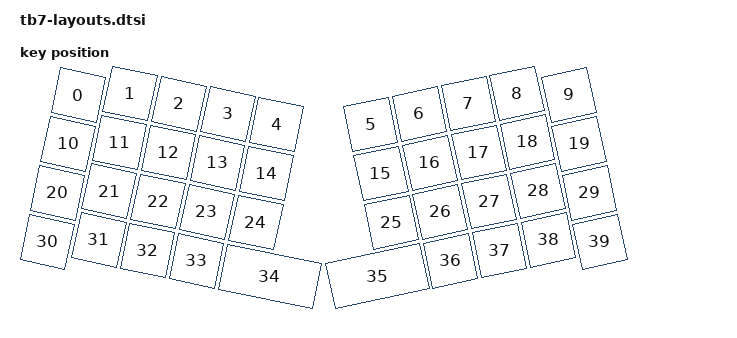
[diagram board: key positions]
// See https://zmk.dev/docs/development/hardware-integration/physical-layouts
// for how to configure this.

#include <physical_layouts.dtsi>

/ {
    default_layout: default_layout {
        compatible = "zmk,physical-layout";
        display-name = "Default Layout";
        transform = <&default_transform>;
        kscan = <&kscan>;

        // Edit this to define the positions and sizes of the keys, or remove it
        // if your keyboard will not support ZMK Studio.
        // https://zmk.dev/docs/development/hardware-integration/physical-layouts#optional-keys-property
        keys  //                     w   h    x    y     rot    rx    ry
            = <&key_physical_attrs 100 100    0   25    1200   600   550>
            , <&key_physical_attrs 100 100  100    0    1200   600   550>
            , <&key_physical_attrs 100 100  200    0    1200   600   550>
            , <&key_physical_attrs 100 100  300    0    1200   600   550>
            , <&key_physical_attrs 100 100  400    0    1200   600   550>
            , <&key_physical_attrs 100 100  800   21 (-1200)   600   550>
            , <&key_physical_attrs 100 100  900   21 (-1200)   600   550>
            , <&key_physical_attrs 100 100 1000   21 (-1200)   600   550>
            , <&key_physical_attrs 100 100 1100   21 (-1200)   600   550>
            , <&key_physical_attrs 100 100 1200   46 (-1200)   600   550>
            , <&key_physical_attrs 100 100    0  125    1200   600   550>
            , <&key_physical_attrs 100 100  100  100    1200   600   550>
            , <&key_physical_attrs 100 100  200  100    1200   600   550>
            , <&key_physical_attrs 100 100  300  100    1200   600   550>
            , <&key_physical_attrs 100 100  400  100    1200   600   550>
            , <&key_physical_attrs 100 100  800  121 (-1200)   600   550>
            , <&key_physical_attrs 100 100  900  121 (-1200)   600   550>
            , <&key_physical_attrs 100 100 1000  121 (-1200)   600   550>
            , <&key_physical_attrs 100 100 1100  121 (-1200)   600   550>
            , <&key_physical_attrs 100 100 1200  146 (-1200)   600   550>
            , <&key_physical_attrs 100 100    0  225    1200   600   550>
            , <&key_physical_attrs 100 100  100  200    1200   600   550>
            , <&key_physical_attrs 100 100  200  200    1200   600   550>
            , <&key_physical_attrs 100 100  300  200    1200   600   550>
            , <&key_physical_attrs 100 100  400  200    1200   600   550>
            , <&key_physical_attrs 100 100  800  221 (-1200)   600   550>
            , <&key_physical_attrs 100 100  900  221 (-1200)   600   550>
            , <&key_physical_attrs 100 100 1000  221 (-1200)   600   550>
            , <&key_physical_attrs 100 100 1100  221 (-1200)   600   550>
            , <&key_physical_attrs 100 100 1200  246 (-1200)   600   550>
            , <&key_physical_attrs 100 100    0  325    1200   600   550>
            , <&key_physical_attrs 100 100  100  300    1200   600   550>
            , <&key_physical_attrs 100 100  200  300    1200   600   550>
            , <&key_physical_attrs 100 100  300  300    1200   600   550>
            , <&key_physical_attrs 200 100  400  300    1200   600   550>
            , <&key_physical_attrs 200 100  700  321 (-1200)   600   550>
            , <&key_physical_attrs 100 100  900  321 (-1200)   600   550>
            , <&key_physical_attrs 100 100 1000  321 (-1200)   600   550>
            , <&key_physical_attrs 100 100 1100  321 (-1200)   600   550>
            , <&key_physical_attrs 100 100 1200  346 (-1200)   600   550>
            
            ;
        };
};
/*

    tb7_position_map {
        compatible = "zmk,physical-layout-position-map";
//        complete;
        tb7_map: tb7 {
            default_layout = <&default_layout>;
            positions
                = < 1   2   3   4   >
                , < 5   6   7   8   >
                ;
        };
    };

*/

/*
    pos_map {
        compatible = "zmk,physical-layout-position-map";
        std {
            physical-layout = <&standard_layout>;
            positions
                = < 36 37 38  39  40 41  42 43  44 >;
        };
*/  
